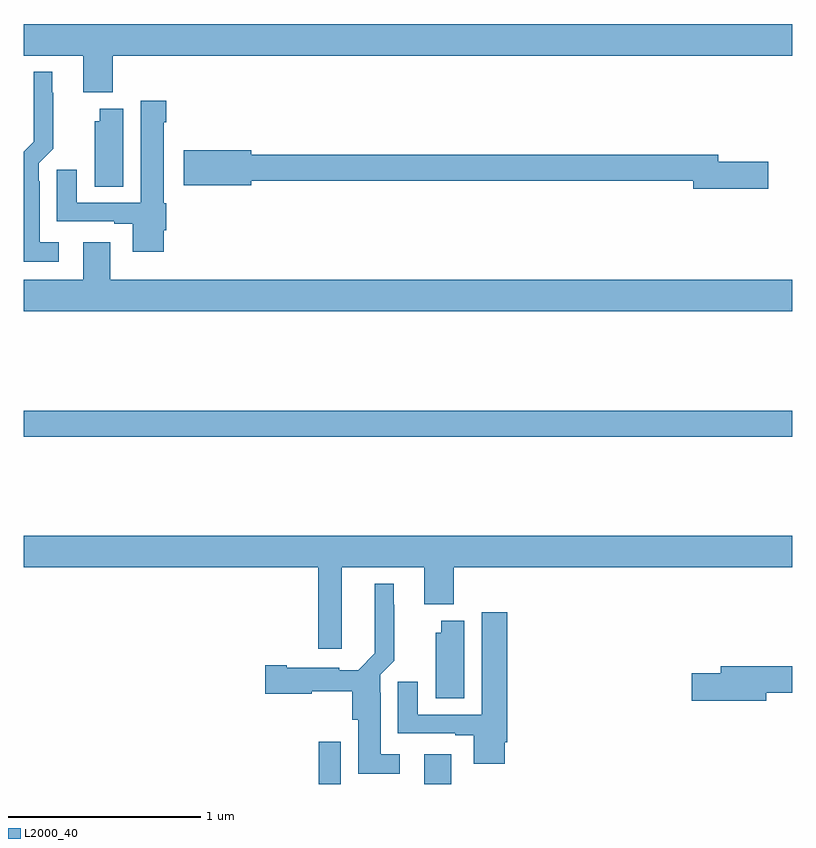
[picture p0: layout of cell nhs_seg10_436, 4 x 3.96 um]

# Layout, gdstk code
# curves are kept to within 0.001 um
import gdstk
lib = gdstk.Library(unit=1e-6, precision=1e-09)
def R(c, l, rs):  # rectangles x0, y0, x1, y1
    for r in rs: c.add(gdstk.rectangle(r[:2], r[2:], *l))
def P(c, l, *ps):  # polygons
    for p in ps: c.add(gdstk.Polygon(p, *l))
L2000_40 = (2000, 40)

nhs_seg10_436 = lib.new_cell('nhs_seg10_436')
R(nhs_seg10_436, L2000_40, [(132.535,1320.5,132.651,1320.721), (133.085,1320.5,133.225,1320.655), (131,1322.308,135,1322.444)])
P(nhs_seg10_436, L2000_40, [(131.462,1324.292),(135,1324.292),(135,1324.456),(131,1324.456),(131,1324.292),(131.309,1324.292),(131.309,1324.1),(131.462,1324.1)],
  [(131.182,1323.319),(131.083,1323.319),(131.083,1323.638),(131.079,1323.638),(131.079,1323.732),(131.153,1323.806),(131.153,1324.097),(131.149,1324.097),(131.149,1324.207),(131.051,1324.207),(131.052,1323.844),(131,1323.792),(131,1323.218),(131.182,1323.218)],
  [(131.728,1323.382),(131.741,1323.382),(131.741,1323.522),(131.728,1323.522),(131.728,1323.944),(131.741,1323.944),(131.741,1324.057),(131.609,1324.057),(131.609,1323.525),(131.275,1323.525),(131.275,1323.697),(131.171,1323.697),(131.171,1323.429),(131.471,1323.429),(131.471,1323.417),(131.567,1323.417),(131.567,1323.27),(131.728,1323.27)],
  [(131.518,1324.015),(131.396,1324.015),(131.396,1323.951),(131.369,1323.951),(131.369,1323.61),(131.518,1323.61)],
  [(134.875,1323.74),(134.614,1323.74),(134.614,1323.776),(132.184,1323.776),(132.184,1323.8),(131.832,1323.8),(131.832,1323.617),(132.184,1323.617),(132.184,1323.64),(134.486,1323.64),(134.486,1323.598),(134.875,1323.598)],
  [(135,1323.124),(131.449,1323.124),(131.449,1323.319),(131.309,1323.319),(131.309,1323.124),(131,1323.124),(131,1322.96),(135,1322.96)],
  [(132.655,1321.628),(133.085,1321.628),(133.085,1321.436),(133.238,1321.436),(133.238,1321.628),(135,1321.628),(135,1321.792),(131,1321.792),(131,1321.628),(132.533,1321.628),(132.533,1321.203),(132.655,1321.203)],
  [(132.958,1320.655),(132.859,1320.655),(132.859,1320.974),(132.855,1320.974),(132.855,1321.068),(132.929,1321.142),(132.929,1321.433),(132.925,1321.433),(132.925,1321.543),(132.827,1321.543),(132.828,1321.18),(132.741,1321.093),(132.642,1321.093),(132.642,1321.105),(132.37,1321.105),(132.37,1321.118),(132.258,1321.118),(132.258,1320.971),(132.498,1320.971),(132.498,1320.983),(132.71,1320.983),(132.71,1320.834),(132.74,1320.834),(132.74,1320.554),(132.958,1320.554)],
  [(133.504,1320.718),(133.517,1320.718),(133.517,1321.393),(133.385,1321.393),(133.385,1320.861),(133.051,1320.861),(133.051,1321.033),(132.947,1321.033),(132.947,1320.765),(133.247,1320.765),(133.247,1320.753),(133.343,1320.753),(133.343,1320.606),(133.504,1320.606)],
  [(133.294,1321.351),(133.172,1321.351),(133.172,1321.287),(133.145,1321.287),(133.145,1320.946),(133.294,1320.946)],
  [(134.866,1320.976),(135,1320.976),(135,1321.112),(134.627,1321.112),(134.627,1321.076),(134.478,1321.076),(134.478,1320.934),(134.866,1320.934)])

lib.write_gds('nhs_seg10_436.gds')
